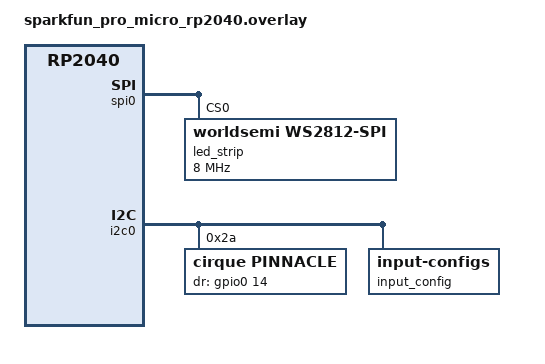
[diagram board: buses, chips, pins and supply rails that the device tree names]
#include <dt-bindings/pinctrl/rpi-pico-rp2040-pinctrl.h>
#include <dt-bindings/led/led.h>
#include <freq.h>


&pinctrl {
    spi0_default: spi0_default {
        group1 {
            pinmux = <SPI0_TX_P3>;
        };
    };
};


&spi0 {
	led_strip: ws2812@0 {
		compatible = "worldsemi,ws2812-spi";

		/* SPI */
		reg = <0>; /* ignored, but necessary for SPI bindings */

		/* WS2812 */
		chain-length = <18>; /* arbitrary; change at will */
        /* These are settings from https://www.empirical.ee/zephyr/ */
        /*
         * Sample values from Nordic for these settings are utter garbage. From first principles:
         * WS2812 requires 1.25us +/- 0.6us frame period. For an 8-bit frame, that's 6.4MHz
         * Zero frame is 0.4us high, 0.85us low. +/- 0.15us.
         * One  frame is 0.8us high, 0.45us low. +/- 0.15us.
         *
         * Requesting 6.5MHz gets us 4MHz, so let's do 8MHz instead.
         * At 8 MHz, 3 bits is 0.375us, 6 bits is 0.75us, period is 1.0us,
         * all of which is good enough for us.
         */
        spi-max-frequency = <8000000>;
        spi-one-frame = <0xFC>;
        spi-zero-frame = <0xE0>;
		color-mapping = <LED_COLOR_ID_GREEN LED_COLOR_ID_RED LED_COLOR_ID_BLUE>;
	};
};


&i2c0 {
    status = "okay";
    cirque: cirque@2a {
        compatible = "cirque,pinnacle";
        reg = <0x2a>;
        status = "okay";
        dr-gpios = <&gpio0 14 (GPIO_ACTIVE_HIGH)>;

        sensitivity = "1x";
        abs-mode;
        // sleep;
        // no-taps;
    };
    // Rotation config, from Pete
    // This will change in the future
    // https://discord.com/channels/719497620560543766/845285481888743434/1206407883777114182
    input_config {
        compatible = "zmk,input-configs";

        cirque_config {
            device = <&cirque>;
            xy-swap;
            y-invert;
            x-invert;
        };
    };
};


/ {
	chosen {
		zmk,underglow = &led_strip;
	};

    cirque_listener {
        compatible = "zmk,input-listener";
        device = <&cirque>;
        xy-swap;
        y-invert;
        x-invert;
    };
};
